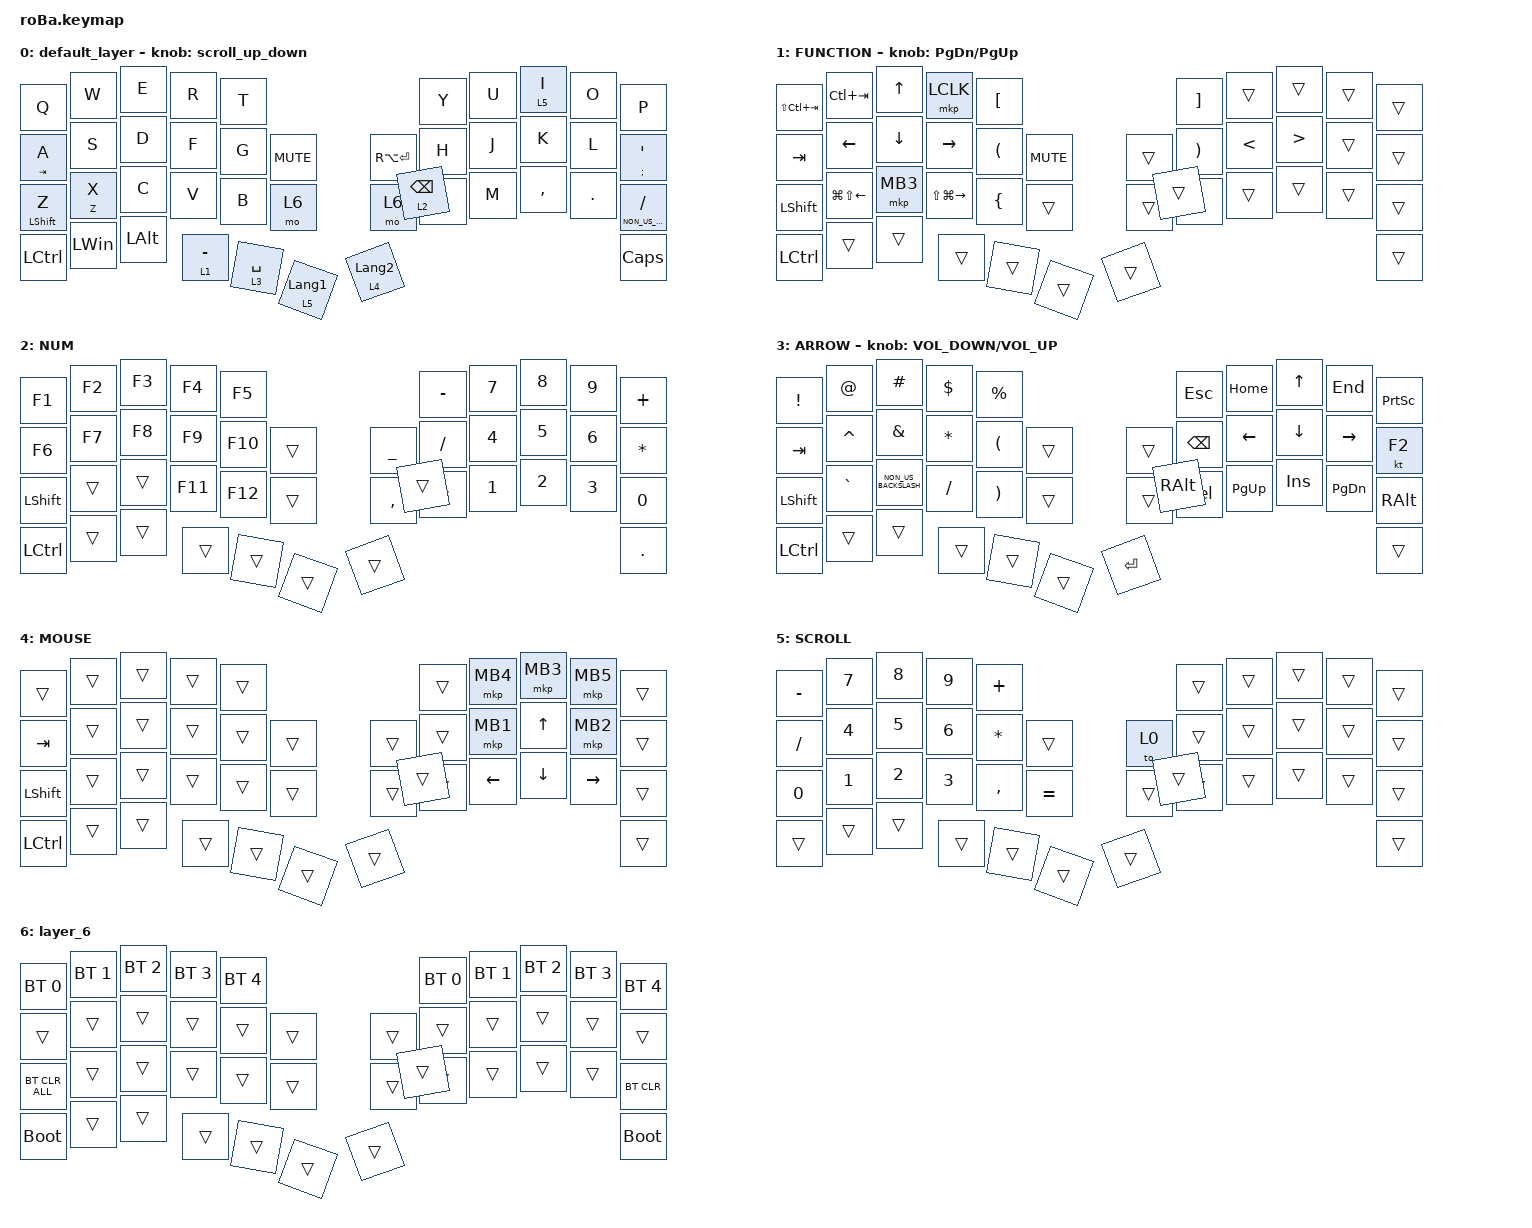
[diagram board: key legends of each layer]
#include <behaviors.dtsi>
#include <dt-bindings/zmk/bt.h>
#include <dt-bindings/zmk/keys.h>
#include <dt-bindings/zmk/pointing.h>

// #includeのあとのあたりにスクロール量変更の定義を追記

#define ZMK_MOUSE_DEFAULT_SCRL_VAL 100

&mt {
    flavor = "balanced";
    quick-tap-ms = <0>;
};

&trackball {
    automouse-layer = <4>;
    scroll-layers = <5>;

    // arrows {
    //     layers = <3>;
    //     bindings =
    //         <&kp RIGHT_ARROW>,
    //         <&kp LEFT_ARROW>,
    //         <&kp UP_ARROW>,
    //         <&kp DOWN_ARROW>;
    //     tick = <10>;
    //     wait-ms = <5>;
    //     tap-ms = <5>;
    // };
};

/ {
    combos {
        compatible = "zmk,combos";

        tab {
            bindings = <&kp TAB>;
            key-positions = <11 12>;
        };

        shift_tab {
            bindings = <&kp LS(TAB)>;
            key-positions = <12 13>;
        };

        muhennkann {
            bindings = <&to_layer_0 INT_MUHENKAN>;
            key-positions = <11 10>;
        };

        double_quotation {
            bindings = <&kp DOUBLE_QUOTES>;
            key-positions = <20 21>;
        };

        eq {
            bindings = <&kp EQUAL>;
            key-positions = <24 25>;
        };
    };

    macros {
        to_layer_0: to_layer_0 {
            compatible = "zmk,behavior-macro-one-param";
            #binding-cells = <1>;
            bindings = <&to 0 &macro_param_1to1 &kp MACRO_PLACEHOLDER>;
            label = "TO_LAYER_0";
        };
    };

    behaviors {
        lt_to_layer_0: lt_to_layer_0 {
            compatible = "zmk,behavior-hold-tap";
            label = "LAYER_TAP_TO_0";
            bindings = <&mo>, <&to_layer_0>;

            #binding-cells = <2>;
            tapping-term-ms = <200>;
        };

        // スクロールの割り当て

        scroll_up_down: behavior_sensor_rotate_mouse_wheel_up_down {
            compatible = "zmk,behavior-sensor-rotate";
            #sensor-binding-cells = <0>;
            bindings = <&msc SCRL_DOWN>, <&msc SCRL_UP>;

            // 追加: スクロールのタップ時間を設定 (20ms)

            tap-ms = <20>;
        };
    };

    keymap {
        compatible = "zmk,keymap";

        default_layer {
            bindings = <
&kp Q             &kp W         &kp E         &kp R        &kp T                                                           &kp Y            &kp U  &lt 5 I    &kp O    &kp P
&mt TAB A         &kp S         &kp D         &kp F        &kp G        &kp C_MUTE                       &kp RA(ENTER)     &kp H            &kp J  &kp K      &kp L    &mt SEMICOLON SQT
&mt LEFT_SHIFT Z  &mt Z X       &kp C         &kp V        &kp B        &mo 6                            &mo 6             &kp N            &kp M  &kp COMMA  &kp DOT  &mt NON_US_BACKSLASH SLASH
&kp LCTRL         &kp LEFT_WIN  &kp LEFT_ALT  &lt 1 MINUS  &lt 3 SPACE  &lt_to_layer_0 5 LANGUAGE_1      &lt 4 LANGUAGE_2  &lt 2 BACKSPACE                             &kp CAPSLOCK
            >;

            //レイヤー0のスクロール割り当て

            sensor-bindings = <&scroll_up_down>;
        };

        FUNCTION {
            bindings = <
&kp LS(LC(TAB))  &kp LC(TAB)       &kp UP_ARROW  &mkp LCLK          &kp LEFT_BRACKET                              &kp RIGHT_BRACKET      &trans         &trans            &trans  &trans
&kp TAB          &kp LEFT          &kp DOWN      &kp RIGHT          &kp LEFT_PARENTHESIS  &kp K_MUTE      &trans  &kp RIGHT_PARENTHESIS  &kp LESS_THAN  &kp GREATER_THAN  &trans  &trans
&kp LEFT_SHIFT   &kp LG(LS(LEFT))  &mkp MB3      &kp LS(LG(RIGHT))  &kp LEFT_BRACE        &trans          &trans  &kp RIGHT_BRACE        &trans         &trans            &trans  &trans
&kp LCTRL        &trans            &trans        &trans             &trans                &trans          &trans  &trans                                                          &trans
            >;

            sensor-bindings = <&inc_dec_kp PAGE_DOWN PAGE_UP>;
        };

        NUM {
            bindings = <
&kp F1          &kp F2  &kp F3  &kp F4   &kp F5                               &kp MINUS  &kp N7        &kp N8        &kp N9        &kp PLUS
&kp F6          &kp F7  &kp F8  &kp F9   &kp F10  &trans      &kp UNDERSCORE  &kp SLASH  &kp NUMBER_4  &kp N5        &kp NUMBER_6  &kp ASTERISK
&kp LEFT_SHIFT  &trans  &trans  &kp F11  &kp F12  &trans      &kp COMMA       &kp EQUAL  &kp NUMBER_1  &kp NUMBER_2  &kp NUMBER_3  &kp N0
&kp LCTRL       &trans  &trans  &trans   &trans   &trans      &trans          &trans                                               &kp PERIOD
            >;
        };

        ARROW {
            bindings = <
&kp EXCLAMATION  &kp AT_SIGN  &kp HASH              &kp DOLLAR    &kp PERCENT                                    &kp ESCAPE     &kp HOME     &kp UP_ARROW  &kp END        &kp PRINTSCREEN
&kp TAB          &kp CARET    &kp AMPERSAND         &kp ASTERISK  &kp LEFT_PARENTHESIS   &trans      &trans      &kp BACKSPACE  &kp LEFT     &kp DOWN      &kp RIGHT      &kt F2
&kp LEFT_SHIFT   &kp GRAVE    &kp NON_US_BACKSLASH  &kp SLASH     &kp RIGHT_PARENTHESIS  &trans      &trans      &kp DELETE     &kp PAGE_UP  &kp INSERT    &kp PAGE_DOWN  &kp RIGHT_ALT
&kp LCTRL        &trans       &trans                &trans        &trans                 &trans      &kp RETURN  &kp RIGHT_ALT                                            &trans
            >;

            sensor-bindings = <&inc_dec_kp C_VOLUME_DOWN C_VOLUME_UP>;
        };

        MOUSE {
            bindings = <
&trans          &trans  &trans  &trans  &trans                      &trans  &mkp MB4  &mkp MB3  &mkp MB5   &trans
&kp TAB         &trans  &trans  &trans  &trans  &trans      &trans  &trans  &mkp MB1  &kp UP    &mkp MB2   &trans
&kp LEFT_SHIFT  &trans  &trans  &trans  &trans  &trans      &trans  &trans  &kp LEFT  &kp DOWN  &kp RIGHT  &trans
&kp LCTRL       &trans  &trans  &trans  &trans  &trans      &trans  &trans                                 &trans
            >;
        };

        SCROLL {
            bindings = <
&kp MINUS  &kp N7        &kp N8        &kp N9        &kp PLUS                             &trans  &trans  &trans  &trans  &trans
&kp SLASH  &kp NUMBER_4  &kp N5        &kp NUMBER_6  &kp ASTERISK  &trans         &to 0   &trans  &trans  &trans  &trans  &trans
&kp N0     &kp NUMBER_1  &kp NUMBER_2  &kp NUMBER_3  &kp COMMA     &kp EQUAL      &trans  &trans  &trans  &trans  &trans  &trans
&trans     &trans        &trans        &trans        &trans        &trans         &trans  &trans                          &trans
            >;
        };

        layer_6 {
            bindings = <
&bt BT_SEL 0    &bt BT_SEL 1  &bt BT_SEL 2  &bt BT_SEL 3  &bt BT_SEL 4                      &bt BT_SEL 0  &bt BT_SEL 1  &bt BT_SEL 2  &bt BT_SEL 3  &bt BT_SEL 4
&trans          &trans        &trans        &trans        &trans        &trans      &trans  &trans        &trans        &trans        &trans        &trans
&bt BT_CLR_ALL  &trans        &trans        &trans        &trans        &trans      &trans  &trans        &trans        &trans        &trans        &bt BT_CLR
&bootloader     &trans        &trans        &trans        &trans        &trans      &trans  &trans                                                  &bootloader
            >;
        };
    };
};
